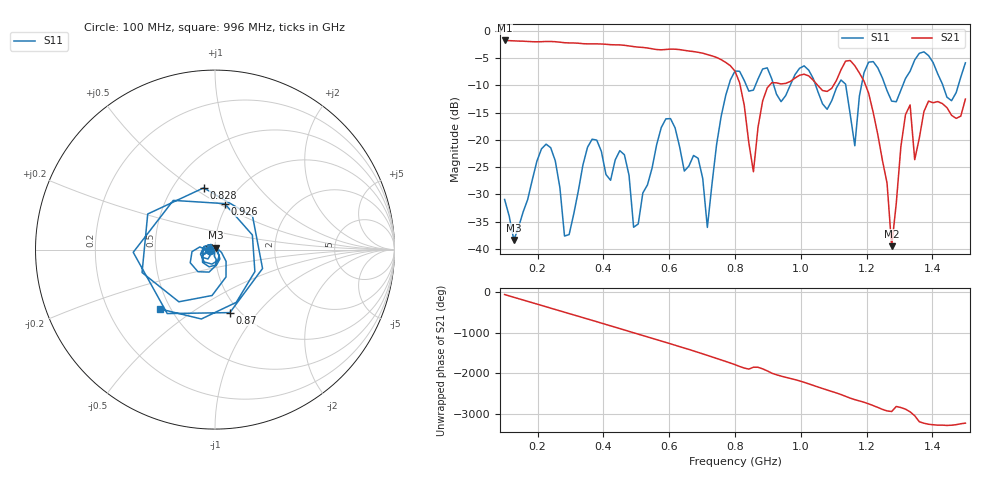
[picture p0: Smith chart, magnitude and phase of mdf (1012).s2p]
! NanoVNA-App
! Date: 2025-09-25 15:46:17
! Start: 100MHz Stop: 1,5GHz Points: 101
! S-Parameter data: F S11 S21 S12 S22
# Hz S RI R 50
!  Frequency  S11_Real  S11_Imag  S21_Real  S21_Imag  S12_Real  S12_Imag  S22_Real  S22_Imag
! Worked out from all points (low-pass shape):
!   101 points, 100 MHz to 1.5 GHz, reference 50 ohm
!   highest |S21| = -1.81 dB at 100 MHz (marker M1); lowest = -39.5 dB at 1.276 GHz (marker M2)
!   |S21| within 3 dB of the highest: start of sweep to 738.9 MHz
!   lowest |S11| = -38.3 dB at 128 MHz (marker M3), VSWR 1.02, Z = 50.4 + j1.14 ohm
!   |S11| at or under -10 dB: start of sweep to 781.1 MHz; 1.045 GHz to 1.113 GHz (68.05 MHz wide, 6.31 % of centre); 1.256 GHz to 1.31 GHz (54.05 MHz wide, 4.21 % of centre) (the widest 3 of 7)
!   S12 and S22 are empty: the file has one direction only
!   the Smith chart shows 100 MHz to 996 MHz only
!   S11 on the Smith chart (normalised r, x): 100 MHz: 0.95, -0.01; 828 MHz: 0.70, +0.55; 870 MHz: 0.90, -0.73; 926 MHz: 0.97, +0.53; 996 MHz: 0.44, -0.36
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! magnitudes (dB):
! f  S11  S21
! 100 MHz  -30.9  -1.8
! 128 MHz  -38.3  -1.9
! 212 MHz  -21.7  -2.0
! 282 MHz  -37.6  -2.2
! 338 MHz  -24.6  -2.4
! 464 MHz  -22.7  -2.7
! 492 MHz  -36.0  -2.9
! 576 MHz  -17.7  -3.5
! 716 MHz  -36.0  -4.4
! 800 MHz  -7.4  -7.4
! 828 MHz  -9.1  -13.6
! 856 MHz  -10.9  -25.9
! 870 MHz  -8.9  -17.7
! 926 MHz  -11.6  -9.6
! 996 MHz  -6.9  -8.2
! 1.038 GHz  -8.8  -9.1
! 1.164 GHz  -21.1  -6.4
! 1.192 GHz  -7.7  -9.3
! 1.276 GHz  -12.9  -39.5
! 1.332 GHz  -7.4  -13.6
! 1.346 GHz  -5.4  -23.6
! 1.5 GHz  -5.9  -12.5
